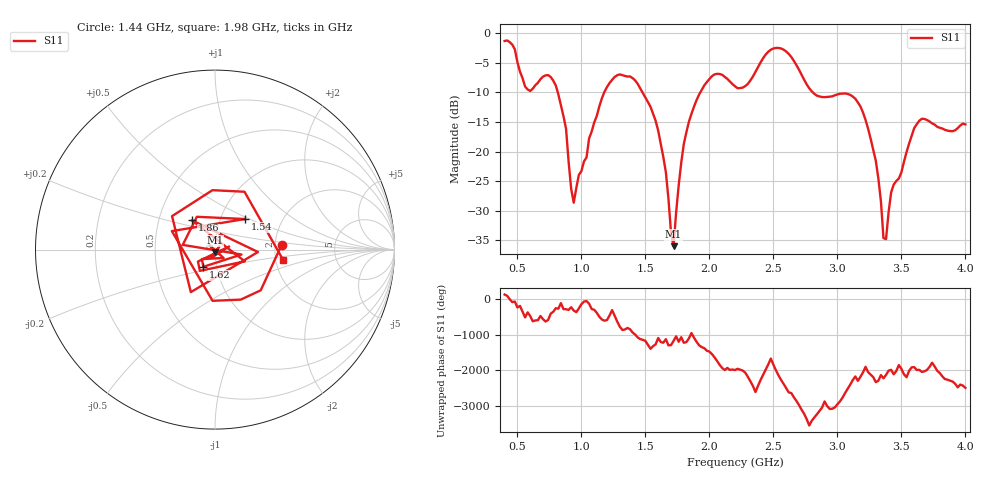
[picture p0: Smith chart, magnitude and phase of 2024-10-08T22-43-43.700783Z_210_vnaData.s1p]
! Created with skrf (http://scikit-rf.org).
# Hz S RI R 50.0
!freq ReS11 ImS11
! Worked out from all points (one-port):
!   181 points, 400 MHz to 4 GHz, reference 50 ohm
!   lowest |S11| = -36.0 dB at 1.72 GHz (marker M1), VSWR 1.03, Z = 49.9 - j1.58 ohm
!   |S11| at or under -10 dB: 815.3 MHz to 1.179 GHz (363.3 MHz wide, 36.4 % of centre); 1.478 GHz to 1.929 GHz (451.5 MHz wide, 26.5 % of centre); 2.808 GHz to end of sweep
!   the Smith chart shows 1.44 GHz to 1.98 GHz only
!   S11 on the Smith chart (normalised r, x): 1.44 GHz: 2.18, +0.13; 1.54 GHz: 1.30, +0.47; 1.62 GHz: 0.86, -0.17; 1.86 GHz: 0.73, +0.25; 1.98 GHz: 2.20, -0.31
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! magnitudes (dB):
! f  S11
! 400 MHz  -1.3
! 480 MHz  -2.7
! 580 MHz  -9.5
! 760 MHz  -7.4
! 860 MHz  -14.0
! 940 MHz  -28.6
! 1.16 GHz  -11.0
! 1.3 GHz  -7.0
! 1.44 GHz  -8.6
! 1.54 GHz  -12.4
! 1.62 GHz  -18.7
! 1.72 GHz  -36.0
! 1.76 GHz  -25.7
! 1.86 GHz  -13.6
! 1.98 GHz  -8.3
! 2.2 GHz  -9.0
! 2.5 GHz  -2.6
! 2.66 GHz  -4.7
! 2.84 GHz  -10.6
! 3.1 GHz  -10.4
! 3.2 GHz  -13.4
! 3.3 GHz  -21.5
! 3.36 GHz  -34.6
! 3.38 GHz  -34.8
! 3.42 GHz  -26.9
! 3.56 GHz  -18.7
! 3.66 GHz  -14.5
! 4 GHz  -15.4
